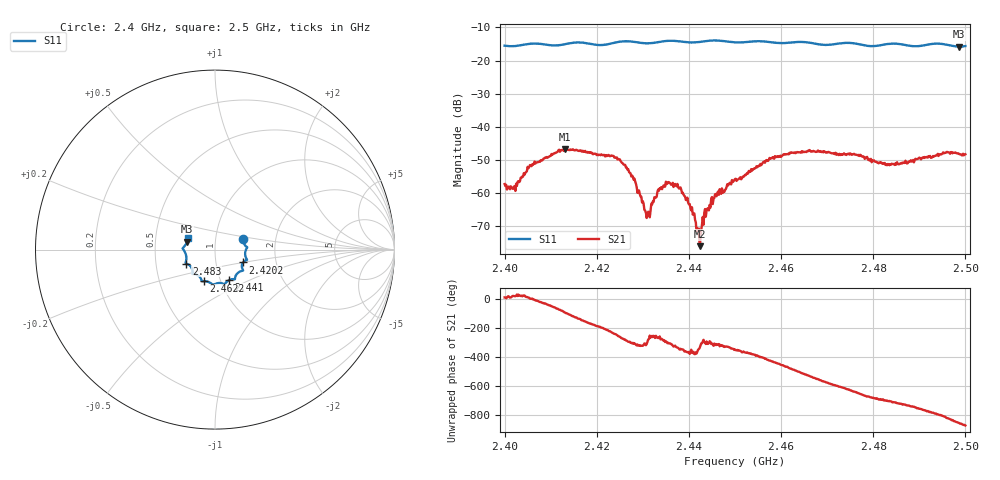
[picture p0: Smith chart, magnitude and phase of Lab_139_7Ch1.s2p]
# Hz S RI R 50
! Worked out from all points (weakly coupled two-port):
!   601 points, 2.4 GHz to 2.5 GHz, reference 50 ohm
!   highest |S21| = -46.75 dB at 2.4132 GHz (marker M1); lowest = -76.1 dB at 2.4423 GHz (marker M2)
!   lowest |S11| = -15.8 dB at 2.4987 GHz (marker M3), VSWR 1.39, Z = 36.4 + j3.28 ohm
!   |S11| at or under -10 dB: start of sweep to end of sweep
!   S12 and S22 are empty: the file has one direction only
!   S11 on the Smith chart (normalised r, x): 2.4 GHz: 1.36, +0.17; 2.4202 GHz: 1.35, -0.20; 2.441 GHz: 1.10, -0.39; 2.4622 GHz: 0.83, -0.30; 2.483 GHz: 0.72, -0.12; 2.5 GHz: 0.73, +0.09
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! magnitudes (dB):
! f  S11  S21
! 2.4 GHz  -15.5  -57.3
! 2.4022 GHz  -15.7  -57.9
! 2.406 GHz  -14.9  -51.3
! 2.4132 GHz  -15.0  -46.8
! 2.4167 GHz  -14.6  -47.5
! 2.4202 GHz  -15.3  -48.4
! 2.4263 GHz  -14.2  -52.3
! 2.431 GHz  -14.8  -66.2
! 2.4333 GHz  -14.5  -58.9
! 2.4355 GHz  -14.1  -56.7
! 2.4373 GHz  -14.1  -58.0
! 2.441 GHz  -14.6  -66.4
! 2.4423 GHz  -14.4  -76.1
! 2.4435 GHz  -14.2  -64.8
! 2.4453 GHz  -13.9  -61.8
! 2.45 GHz  -14.5  -55.8
! 2.4622 GHz  -14.6  -47.7
! 2.4667 GHz  -14.7  -47.4
! 2.483 GHz  -15.0  -51.6
! 2.4833 GHz  -15.0  -51.3
! 2.4987 GHz  -15.8  -48.3
! 2.5 GHz  -15.6  -48.3
